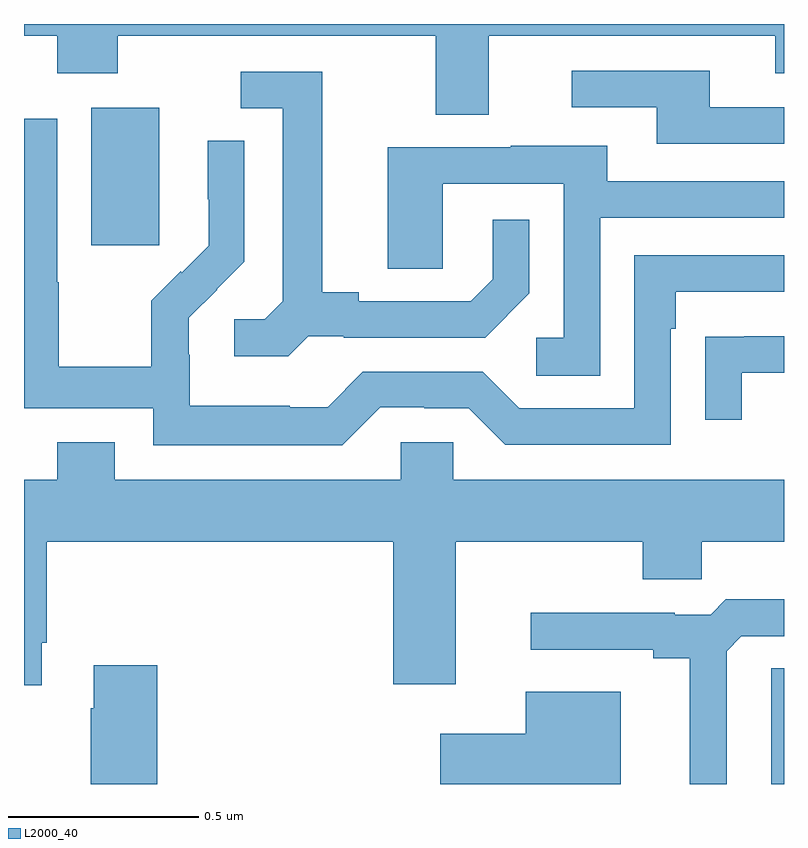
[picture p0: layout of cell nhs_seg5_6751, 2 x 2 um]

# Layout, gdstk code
import gdstk
lib = gdstk.Library(unit=1e-6, precision=1e-09)
def R(c, l, rs):  # rectangles x0, y0, x1, y1
    for r in rs: c.add(gdstk.rectangle(r[:2], r[2:], *l))
def P(c, l, *ps):  # polygons
    for p in ps: c.add(gdstk.Polygon(p, *l))
L2000_40 = (2000, 40)

nhs_seg5_6751 = lib.new_cell('nhs_seg5_6751')
R(nhs_seg5_6751, L2000_40, [(201.966,846.799,202,847.103), (200.177,848.217,200.356,848.578)])
P(nhs_seg5_6751, L2000_40, [(201.223,848.768),(201.977,848.768),(201.977,848.669),(202,848.669),(202,848.799),(200,848.799),(200,848.768),(200.087,848.768),(200.087,848.669),(200.247,848.669),(200.247,848.768),(201.083,848.768),(201.083,848.56),(201.223,848.56)],
  [(202,848.58),(201.805,848.58),(201.805,848.676),(201.441,848.676),(201.441,848.58),(201.665,848.58),(201.665,848.484),(202,848.484)],
  [(200.748,847.977),(200.842,847.977),(200.842,847.974),(201.214,847.974),(201.33,848.09),(201.33,848.284),(201.233,848.284),(201.233,848.127),(201.176,848.07),(200.881,848.07),(200.881,848.093),(200.785,848.093),(200.785,848.673),(200.571,848.673),(200.571,848.577),(200.681,848.577),(200.681,848.069),(200.634,848.022),(200.553,848.022),(200.553,847.925),(200.696,847.925)],
  [(200.937,847.791),(201.053,847.791),(201.053,847.788),(201.171,847.788),(201.267,847.692),(201.702,847.692),(201.702,847.997),(201.715,847.997),(201.715,848.094),(202,848.094),(202,848.19),(201.606,848.19),(201.606,847.788),(201.303,847.788),(201.207,847.884),(200.892,847.884),(200.799,847.791),(200.699,847.791),(200.699,847.795),(200.436,847.795),(200.436,847.929),(200.434,847.929),(200.434,848.026),(200.508,848.1),(200.507,848.101),(200.58,848.174),(200.58,848.492),(200.484,848.492),(200.484,848.338),(200.486,848.338),(200.486,848.216),(200.415,848.145),(200.412,848.148),(200.335,848.071),(200.335,847.897),(200.091,847.897),(200.091,848.12),(200.088,848.12),(200.088,848.55),(200,848.55),(200,847.788),(200.34,847.788),(200.34,847.691),(200.837,847.691)],
  [(201.516,848.289),(202,848.289),(202,848.385),(201.535,848.385),(201.535,848.479),(201.281,848.479),(201.281,848.475),(200.957,848.475),(200.957,848.155),(201.102,848.155),(201.102,848.379),(201.42,848.379),(201.42,847.974),(201.348,847.974),(201.348,847.873),(201.516,847.873)],
  [(201.889,847.881),(202,847.881),(202,847.977),(201.895,847.977),(201.895,847.976),(201.793,847.976),(201.793,847.758),(201.889,847.758)],
  [(200.047,847.171),(200.06,847.171),(200.06,847.436),(200.972,847.436),(200.972,847.062),(201.136,847.062),(201.136,847.436),(201.628,847.436),(201.628,847.338),(201.783,847.338),(201.783,847.436),(202,847.436),(202,847.6),(201.129,847.6),(201.129,847.698),(200.991,847.698),(200.991,847.6),(200.239,847.6),(200.239,847.699),(200.087,847.699),(200.087,847.6),(200,847.6),(200,847.059),(200.047,847.059)],
  [(201.849,847.149),(201.888,847.188),(202,847.188),(202,847.285),(201.847,847.285),(201.807,847.245),(201.713,847.245),(201.713,847.25),(201.333,847.25),(201.333,847.152),(201.656,847.152),(201.656,847.13),(201.752,847.13),(201.752,846.799),(201.849,846.799)],
  [(200.351,847.111),(200.183,847.111),(200.183,846.998),(200.176,846.998),(200.176,846.799),(200.351,846.799)],
  [(201.571,847.042),(201.32,847.042),(201.32,846.931),(201.096,846.931),(201.096,846.799),(201.571,846.799)])

lib.write_gds('nhs_seg5_6751.gds')
